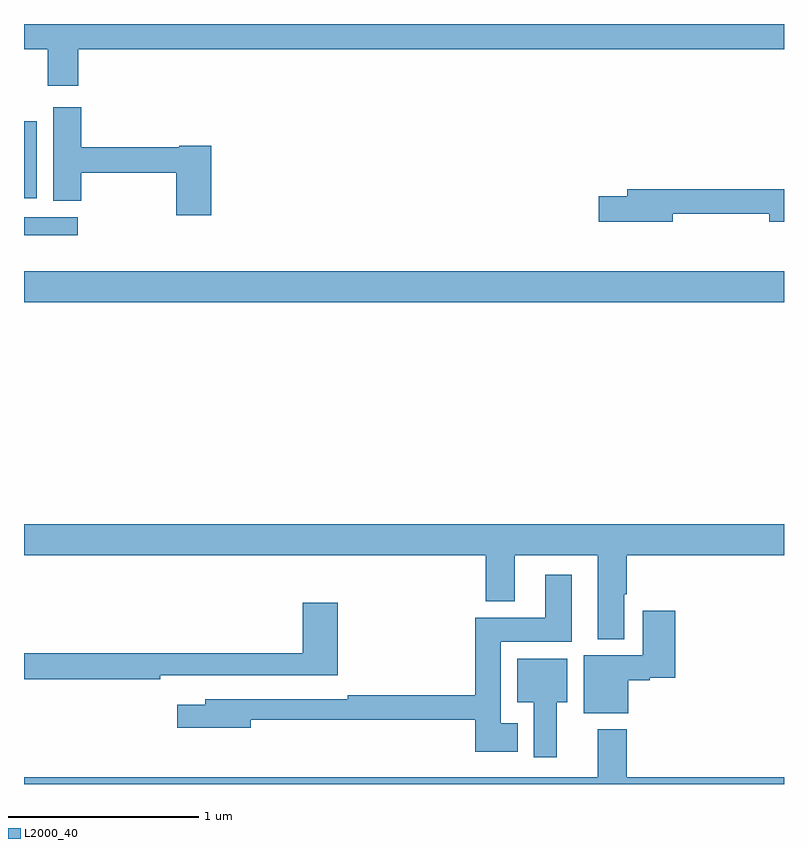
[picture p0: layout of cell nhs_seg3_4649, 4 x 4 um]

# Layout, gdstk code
import gdstk
lib = gdstk.Library(unit=1e-6, precision=1e-09)
def R(c, l, rs):  # rectangles x0, y0, x1, y1
    for r in rs: c.add(gdstk.rectangle(r[:2], r[2:], *l))
def P(c, l, *ps):  # polygons
    for p in ps: c.add(gdstk.Polygon(p, *l))
L2000_40 = (2000, 40)

nhs_seg3_4649 = lib.new_cell('nhs_seg3_4649')
R(nhs_seg3_4649, L2000_40, [(361,680.936,365,681.1), (361,681.288,361.282,681.384), (361,681.482,361.066,681.889)])
P(nhs_seg3_4649, L2000_40, [(361,682.268),(361.126,682.268),(361.126,682.074),(361.286,682.074),(361.286,682.268),(365,682.268),(365,682.4),(361,682.4)],
  [(361.985,681.76),(361.818,681.76),(361.818,681.752),(361.301,681.752),(361.301,681.961),(361.154,681.961),(361.154,681.469),(361.301,681.469),(361.301,681.616),(361.802,681.616),(361.802,681.393),(361.985,681.393)],
  [(364.414,681.402),(364.922,681.402),(364.922,681.359),(365,681.359),(365,681.53),(364.175,681.53),(364.175,681.494),(364.026,681.494),(364.026,681.359),(364.414,681.359)],
  [(364.159,679.399),(364.172,679.399),(364.172,679.604),(365,679.604),(365,679.768),(361,679.768),(361,679.604),(363.431,679.604),(363.431,679.361),(363.583,679.361),(363.583,679.604),(364.019,679.604),(364.019,679.163),(364.159,679.163)],
  [(363.598,678.721),(363.508,678.721),(363.508,679.148),(363.883,679.148),(363.883,679.501),(363.743,679.501),(363.743,679.276),(363.374,679.276),(363.374,678.866),(362.704,678.866),(362.704,678.846),(361.955,678.846),(361.955,678.817),(361.806,678.817),(361.806,678.695),(362.194,678.695),(362.194,678.738),(363.374,678.738),(363.374,678.569),(363.598,678.569)],
  [(361.718,678.972),(362.651,678.972),(362.651,679.354),(362.468,679.354),(362.468,679.088),(361,679.088),(361,678.952),(361.718,678.952)],
  [(364.18,678.947),(364.293,678.947),(364.293,678.959),(364.427,678.959),(364.427,679.312),(364.256,679.312),(364.256,679.078),(363.947,679.078),(363.947,678.773),(364.18,678.773)],
  [(363.805,678.83),(363.859,678.83),(363.859,679.06),(363.596,679.06),(363.596,678.83),(363.683,678.83),(363.683,678.54),(363.805,678.54)],
  [(365,678.436),(364.172,678.436),(364.172,678.688),(364.019,678.688),(364.019,678.436),(361,678.436),(361,678.4),(365,678.4)])

lib.write_gds('nhs_seg3_4649.gds')
